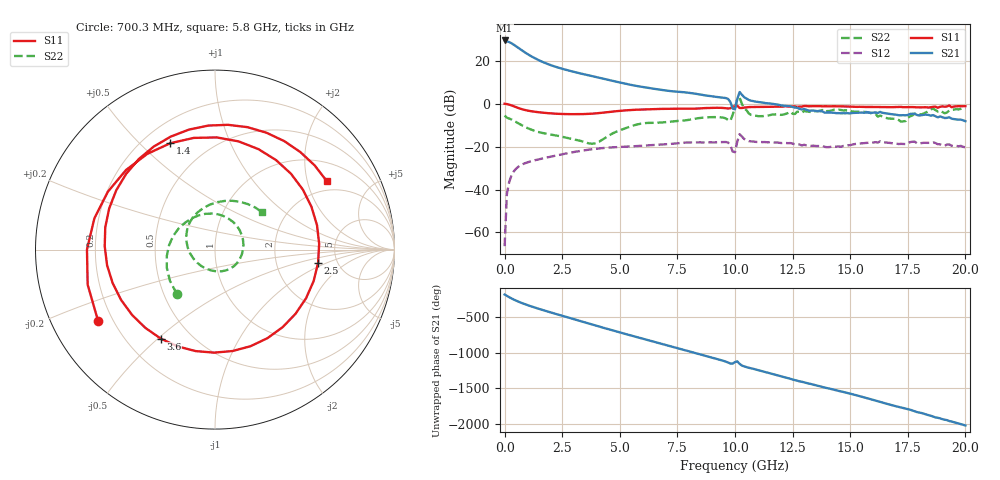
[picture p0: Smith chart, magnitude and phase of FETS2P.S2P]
!Agilent Technologies,E5071C,MY46107106,A.09.54
!Date: Thu Apr 11 16:57:51 2013
!Data & Calibration Information:
!Freq	S11:SOLT2(ON)	S21:SOLT2(ON)	S12:SOLT2(ON)	S22:SOLT2(ON)
# Hz S dB R 50
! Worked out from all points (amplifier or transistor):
!   201 points, 300 kHz to 20 GHz, reference 50 ohm
!   highest |S21| = 29.5 dB at 300 kHz (marker M1)
!   |S21| within 3 dB of that: start of sweep to 534.4 MHz
!   unconditionally stable (mu >= 1): 3.188 GHz to 10.03 GHz; 10.38 GHz to end of sweep
!   at 3.3 GHz: K = 1.01, MAG = 17.4 dB, |S12| = -22.0 dB
!   at 10 GHz: K = 1.30, MAG = 6.7 dB, |S12| = -22.6 dB
!   at 20 GHz: K = 1.56, MAG = 1.7 dB, |S12| = -20.4 dB
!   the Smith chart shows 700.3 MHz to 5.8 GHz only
!   S11 on the Smith chart (normalised r, x): 700.3 MHz: 0.14, -0.28; 1.4 GHz: 0.31, +0.62; 2.5 GHz: 3.57, -0.78; 3.6 GHz: 0.34, -0.51; 5.8 GHz: 1.61, +2.64
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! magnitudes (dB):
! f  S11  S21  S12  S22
! 300 kHz  0.0  29.5  -66.4  -5.5
! 100.3 MHz  -0.1  29.2  -42.0  -6.5
! 200.3 MHz  -0.4  28.8  -36.4  -6.9
! 700.3 MHz  -2.3  25.3  -28.6  -9.7
! 1.4 GHz  -3.8  20.8  -26.1  -13.0
! 2.5 GHz  -4.7  16.3  -23.5  -15.4
! 3.4 GHz  -4.8  13.9  -21.8  -17.6
! 3.6 GHz  -4.7  13.4  -21.5  -18.3
! 5.8 GHz  -2.7  8.2  -19.7  -9.5
! 6.7 GHz  -2.4  6.6  -19.1  -8.8
! 9.8 GHz  -2.1  0.8  -19.5  -7.9
! 10 GHz  -1.0  -2.6  -22.6  -1.7
! 10.2 GHz  -2.0  5.5  -14.2  2.9
! 10.6 GHz  -1.5  1.8  -17.4  -4.5
! 11 GHz  -1.5  0.9  -17.8  -5.8
! 13.4 GHz  -1.1  -3.1  -19.5  -3.5
! 15.7 GHz  -1.5  -4.1  -18.2  -3.8
! 16.7 GHz  -1.6  -4.7  -18.3  -6.9
! 17.4 GHz  -1.6  -5.4  -18.8  -8.1
! 18.6 GHz  -1.4  -5.3  -18.0  -2.3
! 19.1 GHz  -1.4  -6.6  -19.6  -4.4
! 20 GHz  -1.1  -8.1  -20.4  -2.1
